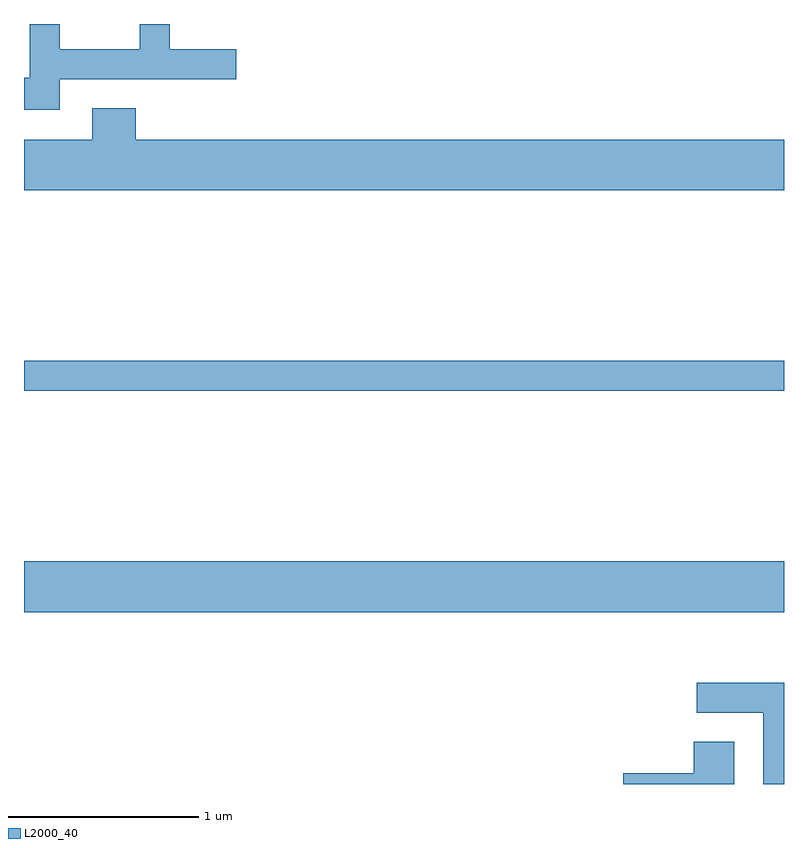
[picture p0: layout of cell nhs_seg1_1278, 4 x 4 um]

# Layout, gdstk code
import gdstk
lib = gdstk.Library(unit=1e-6, precision=1e-09)
def R(c, l, rs):  # rectangles x0, y0, x1, y1
    for r in rs: c.add(gdstk.rectangle(r[:2], r[2:], *l))
def P(c, l, *ps):  # polygons
    for p in ps: c.add(gdstk.Polygon(p, *l))
L2000_40 = (2000, 40)

nhs_seg1_1278 = lib.new_cell('nhs_seg1_1278')
R(nhs_seg1_1278, L2000_40, [(223.611,970.616,227.611,970.884), (223.611,971.781,227.611,971.939)])
P(nhs_seg1_1278, L2000_40, [(223.799,973.421),(224.728,973.421),(224.728,973.579),(224.379,973.579),(224.379,973.712),(224.221,973.712),(224.221,973.579),(223.799,973.579),(223.799,973.712),(223.641,973.712),(223.641,973.429),(223.611,973.429),(223.611,973.261),(223.799,973.261)],
  [(227.611,973.104),(224.199,973.104),(224.199,973.269),(223.971,973.269),(223.971,973.104),(223.611,973.104),(223.611,972.836),(227.611,972.836)],
  [(227.611,970.244),(227.153,970.244),(227.153,970.086),(227.501,970.086),(227.501,969.712),(227.611,969.712)],
  [(227.349,969.934),(227.136,969.934),(227.136,969.769),(226.766,969.769),(226.766,969.712),(227.349,969.712)])

lib.write_gds('nhs_seg1_1278.gds')
